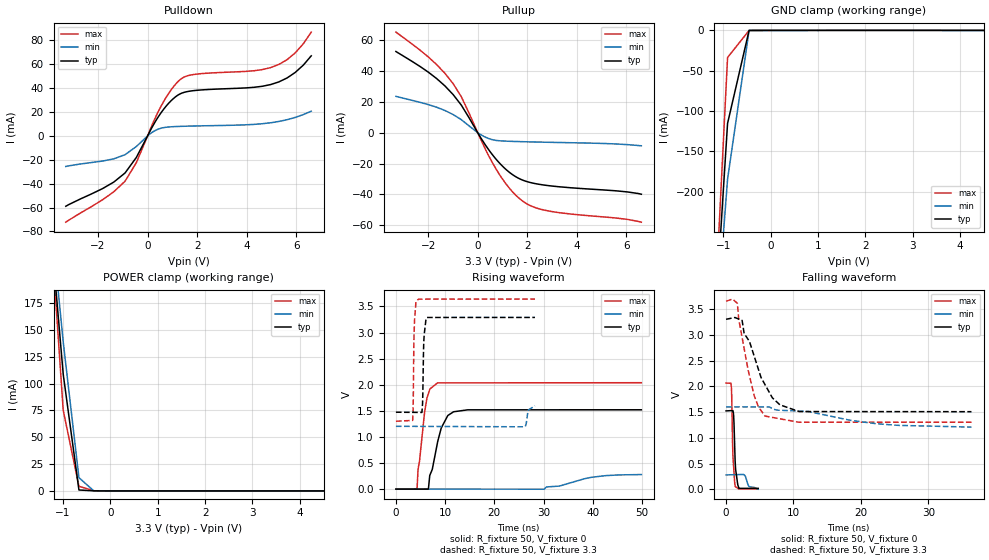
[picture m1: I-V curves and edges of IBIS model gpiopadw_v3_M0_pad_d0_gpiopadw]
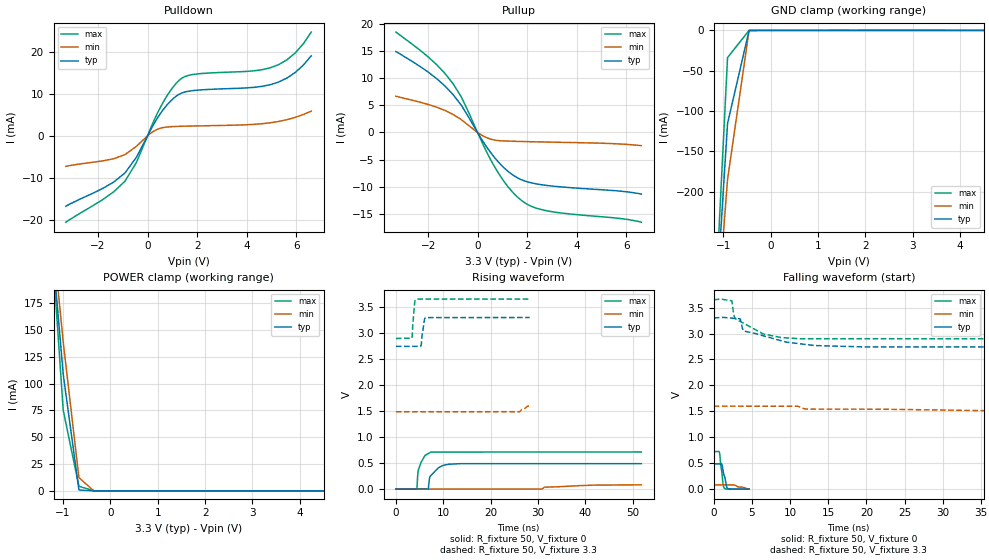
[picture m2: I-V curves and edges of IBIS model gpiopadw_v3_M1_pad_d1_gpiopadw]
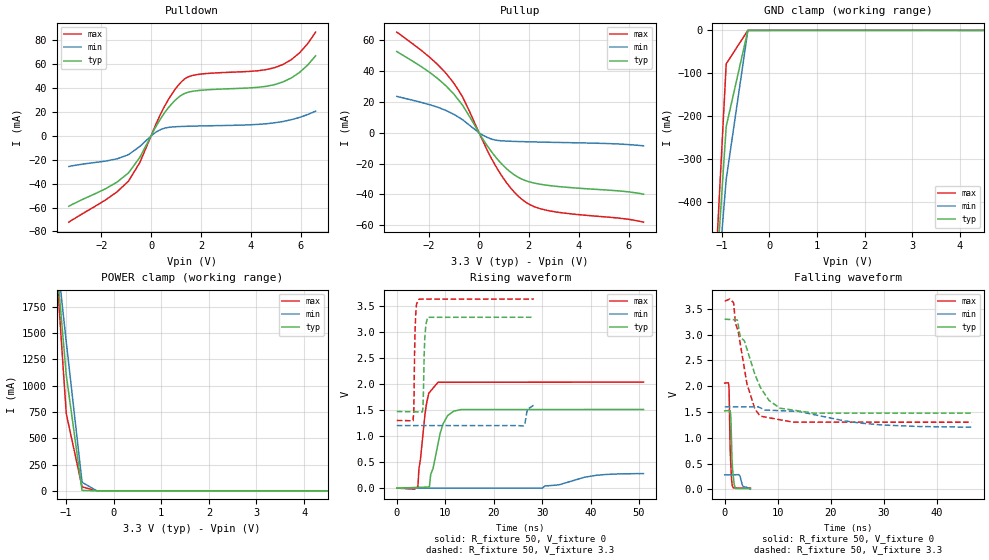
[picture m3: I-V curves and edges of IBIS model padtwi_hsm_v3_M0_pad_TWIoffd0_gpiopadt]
|   - ATMEL Microcontrollers -
|   IBIS model for SAMD21_TQFP64
[IBIS Ver]   4.2
[Comment char]  |_char
[File Name]   samd21b_3t64.ibs
[File Rev]   1.0
[Date]   9-SEP-2015 10:12:32
[Source]   By GENIBIS V3.5 - GENerate chip IBIS model - 07-SEP-2015
[Notes]   Property of ATMEL Corporation
[Disclaimer]
                  (C) Copyright ATMEL Nantes 2002-2015
Atmel Nantes makes no warranty for the use of its products, other than
those expressly contained in the Company's standard warranty which is detailed
in Atmel's Terms and Conditions located on the Company's web site. The Company
assumes no responsability for any errors which may appear in this document.
The user is granted this license only to use the IBIS model and is not granted
rights to sell, load, rent, lease or license the IBIS model in whole or in part,
or in modified form to anyone other than user. User may modify the IBIS model
to suit its specific applications but rights to derivative works and such
modifications shall belong to Atmel Nantes.
This IBIS model is provided on an \"AS IS\" basis and Atmel Nantes makes
absolutely no warranty with respect to the information contained herein.
[Copyright]   Copyright (c) 2002-2015 by ATMEL Nantes SA
|   COMPONENT : SAMD21_TQFP64
[Component]   SAMD21_TQFP64
[Manufacturer]  ATMEL Nantes SAS
[Package]
| Package family : TQFP_L
| RLC file   : V1.0
| RLCEDIT tool   : V1.3-2009/04/07
| variable   typ   min   max
R_pkg   250.18m   122.57m   300.80m
L_pkg   8.62n   4.19n   10.38n
C_pkg   373.74f   366.79f   384.07f
[Pin]   signal_name   model_name   R_pin   L_pin   C_pin
|   Real model names   <--->   IBIS model names
|   gpiopadw100m33v3p66k25   gpiopadw_v3
|   gpiopadw100m33v3p66k25   gpiopadw_v3
|  gpiopadtwihsmw100m33v3p66k25   gpiopadtwi_hsm_v3
|  gpiopadtwihsmw100m33v3p66k25   gpiopadtwi_hsm_v3
|  gpiopadtwihsmw100m33v3p66k25   gpiopadtwi_hsm_v3
|  gpiopadtwihsmw100m33v3p66k25   gpiopadtwi_hsm_v3
|  gpiopadtwihsmw100m33v3p66k25   gpiopadtwi_hsm_v3
   1   PA00   gpiopadw_v3  283.35m   9.63n  373.72f
   2   PA01   gpiopadw_v3  263.35m   9.25n  373.60f
   3   PA02   gpiopadw_v3  273.35m   9.29n  373.61f
   4   PA03   gpiopadw_v3  263.35m   9.03n  373.53f
   5   PB04   gpiopadw_v3  253.35m   8.74n  373.44f
   6   PB05   gpiopadw_v3  243.35m   8.53n  373.37f
   7   GNDANA   GND  130.02m   4.56n  377.04f
   8   VDDANA   POWER  158.35m   5.53n  375.20f
   9   PB06   gpiopadw_v3  243.35m   8.39n  373.33f
   10   PB07   gpiopadw_v3  243.35m   8.32n  373.31f
   11   PB08   gpiopadw_v3  243.35m   8.27n  373.29f
   12   PB09   gpiopadw_v3  243.35m   8.33n  373.31f
   13   PA04   gpiopadw_v3  243.35m   8.48n  373.36f
   14   PA05   gpiopadw_v3  253.35m   8.67n  373.42f
   15   PA06   gpiopadw_v3  263.35m   8.98n  373.52f
   16   PA07   gpiopadw_v3  273.35m   9.35n  373.63f
   17   PA08   gpiopadtwi_hsm_v3  293.35m   10.02n  373.84f
   18   PA09   gpiopadtwi_hsm_v3  283.35m   9.69n  373.74f
   19   PA10   gpiopadw_v3  273.35m   9.34n  373.63f
   20   PA11   gpiopadw_v3  263.35m   9.04n  373.54f
   21   VDDIO   POWER  253.35m   8.83n  373.47f
   22   GND   GND  253.35m   8.71n  373.43f
   23   PB10   gpiopadw_v3  253.35m   8.68n  373.42f
   24   PB11   gpiopadw_v3  253.35m   8.74n  373.44f
   25   PB12   gpiopadtwi_hsm_v3  253.35m   8.75n  373.44f
   26   PB13   gpiopadtwi_hsm_v3  253.35m   8.77n  373.45f
   27   PB14   gpiopadw_v3  253.35m   8.73n  373.44f
   28   PB15   gpiopadw_v3  253.35m   8.87n  373.48f
   29   PA12   gpiopadtwi_hsm_v3  263.35m   9.03n  373.53f
   30   PA13   gpiopadtwi_hsm_v3  263.35m   9.24n  373.60f
   31   PA14   gpiopadw_v3  273.35m   9.48n  373.67f
   32   PA15   gpiopadw_v3  273.35m   9.42n  373.66f
   33   GND   GND  273.35m   9.35n  373.63f
   34   VDDIO   POWER  263.35m   8.98n  373.52f
   35   PA16   gpiopadtwi_hsm_v3  253.35m   8.82n  373.47f
   36   PA17   gpiopadtwi_hsm_v3  253.35m   8.62n  373.40f
   37   PA18   gpiopadw_v3  243.35m   8.42n  373.34f
   38   PA19   gpiopadw_v3  243.35m   8.32n  373.31f
   39   PB16   gpiopadtwi_hsm_v3  243.35m   8.32n  373.31f
   40   PB17   gpiopadtwi_hsm_v3  243.35m   8.39n  373.33f
   41   PA20   gpiopadw_v3  243.35m   8.45n  373.35f
   42   PA21   gpiopadw_v3  243.35m   8.54n  373.38f
   43   PA22   gpiopadtwi_hsm_v3  243.35m   8.51n  373.37f
   44   PA23   gpiopadtwi_hsm_v3  253.35m   8.65n  373.41f
   45   PA24   NC  253.35m   8.90n  373.49f
   46   PA25   NC  253.35m   8.81n  373.46f
   47   GND   GND  263.35m   9.12n  373.56f
   48   VDDIO   POWER  273.35m   9.51n  373.69f
   49   PB22   gpiopadw_v3  283.35m   9.77n  373.77f
   50   PB23   gpiopadw_v3  273.35m   9.42n  373.66f
   51   PA27   gpiopadw_v3  283.35m   9.62n  373.72f
   52   RESET_N   gpiopadw_v3  273.35m   9.37n  373.64f
   53   PA28   gpiopadw_v3  263.35m   9.09n  373.55f
   54   GND   GND  136.68m   4.74n  377.57f
   55   VDDCORE   POWER  135.53m   4.72n  377.50f
   56   VDDIN   POWER  163.35m   5.74n  375.46f
   57   PA30   gpiopadw_v3  253.35m   8.77n  373.45f
   58   PA31   gpiopadw_v3  253.35m   8.66n  373.41f
   59   PB30   gpiopadtwi_hsm_v3  253.35m   8.61n  373.40f
   60   PB31   gpiopadtwi_hsm_v3  253.35m   8.63n  373.40f
   61   PB00   gpiopadw_v3  253.35m   8.66n  373.41f
   62   PB01   gpiopadw_v3  253.35m   8.77n  373.45f
   63   PB02   gpiopadw_v3  263.35m   9.02n  373.53f
   64   PB03   gpiopadw_v3  283.35m   9.70n  373.75f
|   MODEL SELECTOR : gpiopadtwi_hsm_v3
[Model Selector]   gpiopadtwi_hsm_v3
piopadtwi_hsm_v3_M4_pad_TWIHS_gpiopadt   TWI on HS mode
padtwi_hsm_v3_M3_pad_TWIfastp_gpiopadt   TWI on fastp mode
opadtwi_hsm_v3_M2_pad_TWIfast_gpiopadt   TWI on fast mode
padtwi_hsm_v3_M1_pad_TWIoffd1_gpiopadt   TWI off Drive 1
padtwi_hsm_v3_M0_pad_TWIoffd0_gpiopadt   TWI off Drive 0
|   MODEL SELECTOR : gpiopadw_v3
[Model Selector]   gpiopadw_v3
gpiopadw_v3_M1_pad_d1_gpiopadw   Drive 1
gpiopadw_v3_M0_pad_d0_gpiopadw   Drive 0
| Models and submodels in the file (7): gpiopadw_v3_M0_pad_d0_gpiopadw (I/O), gpiopadw_v3_M1_pad_d1_gpiopadw (I/O), padtwi_hsm_v3_M0_pad_TWIoffd0_gpiopadt (I/O), padtwi_hsm_v3_M1_pad_TWIoffd1_gpiopadt (I/O), opadtwi_hsm_v3_M2_pad_TWIfast_gpiopadt (I/O_open_sink), padtwi_hsm_v3_M3_pad_TWIfastp_gpiopadt (I/O_open_sink), piopadtwi_hsm_v3_M4_pad_TWIHS_gpiopadt (I/O_open_sink)
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|   MODEL : gpiopadw_v3_M0_pad_d0_gpiopadw
[Model] gpiopadw_v3_M0_pad_d0_gpiopadw
Model_type I/O
Vinl  =  0.99
Vinh  =  2.31
Vmeas =  1.650
| Capacitance   typ   min   max
C_comp   1.66304312273e-12   1.63252795871e-12   1.74894867771e-12
| Variables   typ   min   max
[GND Clamp Reference]   0   0   0
[POWER Clamp Reference]   3.3   1.6   3.65
[Pulldown Reference]   0   0   0
[Pullup Reference]   3.3   1.6   3.65
[Temperature Range]   25   105   -40
[Voltage Range]   3.3   1.6   3.65
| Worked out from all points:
|   slope of the pulldown table from 0 to 0.495 V, typ, clamps not added: 27.5 ohm
|   slope of the pullup table from 0 to 0.495 V, typ, clamps not added: 40.8 ohm
|   falling waveform, R_fixture 50, V_fixture 0: 20-80 % time 298ps typ, 453ps min, 272ps max; typ from 1.52 V to 0.019 V
|   falling waveform, R_fixture 50, V_fixture 3.3: 20-80 % time 3.38ns typ, 11.2ns min, 2.25ns max; typ from 3.3 V to 1.51 V
|   rising waveform, R_fixture 50, V_fixture 0: 20-80 % time 2.4ns typ, 6.71ns min, 1.55ns max; typ from 0 V to 1.52 V
|   rising waveform, R_fixture 50, V_fixture 3.3: 20-80 % time 259ps typ, 388ps min, 230ps max; typ from 1.47 V to 3.29 V
[GND Clamp]
| Voltage   I(typ)   I(min)   I(max)
-3.3V     -2.362A    -2.058A    -2.873A
-1.364V   -539mA     -533.7mA   -569.4mA
-909.1mV  -115.3mA   -184.6mA   -33.61mA
-454.5mV  -28.2uA    -65.8uA    -22.61uA
6.6V      0A         0A         0A
[POWER Clamp]
| Voltage   I(typ)   I(min)   I(max)
-3.3V     1.517A     1.363A     1.827A
-1.327V   278.9mA    288.1mA    290.1mA
-995.5mV  108.7mA    138.8mA    75.16mA
-663.6mV  871.4uA    12.35mA    4.301mA
-350mV    92.45uA    50.02uA    195.9uA
6.6V      0A         0A         0A
[Pulldown]
| Voltage   I(typ)   I(min)   I(max)
-3.3V     -58.91mA   -25.61mA   -72.26mA
-1.818V   -44.13mA   -21.04mA   -53.49mA
-909.1mV  -31.02mA   -15.7mA    -37.92mA
-454.5mV  -18.03mA   -8.879mA   -22.39mA
154.7mV   6.267mA    2.585mA    7.899mA
567.2mV   20.11mA    6.611mA    25.82mA
979.7mV   30.11mA    7.68mA     39.45mA
1.341V    35.5mA     8.009mA    47.61mA
1.959V    38.15mA    8.339mA    51.71mA
4.959V    43mA       11mA       57.2mA
5.955V    53.16mA    15.49mA    69.54mA
6.6V      67.08mA    20.73mA    86.97mA
[Pullup]
| Voltage   I(typ)   I(min)   I(max)
-3.3V     52.49mA    23.48mA    65.06mA
-1.991V   39.1mA     18.14mA    48.92mA
-1.327V   30.29mA    14.36mA    38.45mA
-995.5mV  24.69mA    11.73mA    31.75mA
-663.6mV  17.83mA    8.418mA    23.26mA
103.1mV   -2.836mA   -1.128mA   -3.662mA
670.3mV   -15.85mA   -4.83mA    -21.64mA
1.238V    -25.15mA   -5.561mA   -35.16mA
1.753V    -30.32mA   -5.826mA   -43.55mA
2.217V    -32.63mA   -6.014mA   -47.88mA
2.888V    -34.35mA   -6.25mA    -50.77mA
6.6V      -39.84mA   -8.516mA   -57.94mA
[Ramp]
dV/dt_r   0.913465/2.40986n  0.168178/6.72301n  1.23694/1.57578n
dV/dt_f   1.09591/3.45864n  0.237975/11.2031n  1.40951/2.25851n
R_load = 50
[Falling Waveform]
R_fixture = 50
V_fixture = 0
V_fixture_min = 0
V_fixture_max = 0
| Time   V(typ)   V(min)   V(max)
0s        1.522V     280.3mV    2.062V
728.3ps   1.528V     282.8mV    2.059V
803.6ps   1.528V     283mV      1.953V
841.3ps   1.528V     283.2mV    1.803V
964.1ps   1.529V     283.6mV    907.5mV
1.024ns   1.525V     283.8mV    637.7mV
1.181ns   1.28V      284.3mV    328.5mV
1.371ns   495.4mV    285mV      53.35mV
1.916ns   18.9mV     286.8mV    8.835mV
4.768ns   18.75mV    3.86mV     8.764mV
[Falling Waveform]
R_fixture = 50
V_fixture = 3.3
V_fixture_min = 1.6
V_fixture_max = 3.65
| Time   V(typ)   V(min)   V(max)
0s        3.3V       1.6V       3.65V
1.679ns   3.315V     1.6V       3.61V
1.877ns   3.305V     1.6V       3.306V
2.383ns   3.278V     1.599V     2.947V
2.681ns   3.026V     1.599V     2.734V
4.176ns   2.583V     1.599V     1.817V
5.785ns   2.03V      1.599V     1.422V
7.983ns   1.64V      1.535V     1.369V
10.84ns   1.51V      1.519V     1.303V
36.4ns    1.507V     1.208V     1.303V
[Rising Waveform]
R_fixture = 50
V_fixture = 0
V_fixture_min = 0
V_fixture_max = 0
| Time   V(typ)   V(min)   V(max)
0s        2.582nV    17.1nV     2.171nV
4.261ns   773.7uV    -121.1uV   -773.6uV
4.491ns   815.5uV    -127.6uV   376.6mV
6.311ns   1.146mV    -179.3uV   1.747V
6.601ns   1.199mV    -187.5uV   1.831V
8.459ns   897.8mV    -240.3uV   2.035V
9.202ns   1.17V      -261.4uV   2.035V
11.72ns   1.482V     -332.8uV   2.036V
30.11ns   1.519V     -855.4uV   2.037V
49.87ns   1.52V      279mV      2.038V
[Rising Waveform]
R_fixture = 50
V_fixture = 3.3
V_fixture_min = 1.6
V_fixture_max = 3.65
| Time   V(typ)   V(min)   V(max)
0s        1.473V     1.203V     1.301V
3.407ns   1.471V     1.202V     1.316V
3.783ns   1.47V      1.202V     3.231V
4.6ns     1.47V      1.202V     3.64V
5.284ns   1.469V     1.201V     3.64V
5.412ns   1.641V     1.201V     3.64V
5.67ns    2.843V     1.201V     3.64V
6.294ns   3.289V     1.201V     3.641V
26.22ns   3.289V     1.194V     3.641V
28.25ns   3.289V     1.596V     3.641V
|   MODEL : gpiopadw_v3_M1_pad_d1_gpiopadw
[Model] gpiopadw_v3_M1_pad_d1_gpiopadw
Model_type I/O
Vinl  =  0.99
Vinh  =  2.31
Vmeas =  1.650
| Capacitance   typ   min   max
C_comp   1.66304312273e-12   1.63252795871e-12   1.74894867771e-12
| Variables   typ   min   max
[GND Clamp Reference]   0   0   0
[POWER Clamp Reference]   3.3   1.6   3.65
[Pulldown Reference]   0   0   0
[Pullup Reference]   3.3   1.6   3.65
[Temperature Range]   25   105   -40
[Voltage Range]   3.3   1.6   3.65
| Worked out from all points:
|   slope of the pulldown table from 0 to 0.495 V, typ, clamps not added: 96.6 ohm
|   slope of the pullup table from 0 to 0.495 V, typ, clamps not added: 143 ohm
|   falling waveform, R_fixture 50, V_fixture 0: 20-80 % time 434ps typ, 1.28ns min, 335ps max; typ from 0.488 V to 0.002 V
|   falling waveform, R_fixture 50, V_fixture 3.3: 20-80 % time 5.41ns typ, 26.9ns min, 3.28ns max; typ from 3.3 V to 2.74 V
|   rising waveform, R_fixture 50, V_fixture 0: 20-80 % time 1.81ns typ, 7.65ns min, 1.15ns max; typ from 0 V to 0.488 V
|   rising waveform, R_fixture 50, V_fixture 3.3: 20-80 % time 470ps typ, 1.25ns min, 391ps max; typ from 2.74 V to 3.29 V
[GND Clamp]
| Voltage   I(typ)   I(min)   I(max)
-3.3V     -2.362A    -2.058A    -2.873A
-1.364V   -539mA     -533.7mA   -569.4mA
-909.1mV  -115.3mA   -184.6mA   -33.61mA
-454.5mV  -28.2uA    -65.8uA    -22.61uA
6.6V      0A         0A         0A
[POWER Clamp]
| Voltage   I(typ)   I(min)   I(max)
-3.3V     1.517A     1.363A     1.827A
-1.327V   278.9mA    288.1mA    290.1mA
-995.5mV  108.7mA    138.8mA    75.16mA
-663.6mV  871.4uA    12.35mA    4.301mA
-350mV    92.45uA    50.02uA    195.9uA
6.6V      0A         0A         0A
[Pulldown]
| Voltage   I(typ)   I(min)   I(max)
-3.3V     -16.82mA   -7.308mA   -20.63mA
-1.818V   -12.6mA    -6.002mA   -15.27mA
-909.1mV  -8.851mA   -4.478mA   -10.82mA
-454.5mV  -5.143mA   -2.53mA    -6.388mA
154.7mV   1.788mA    736.3uA    2.254mA
567.2mV   5.737mA    1.88mA     7.367mA
979.7mV   8.585mA    2.179mA    11.25mA
1.341V    10.12mA    2.267mA    13.58mA
1.959V    10.87mA    2.352mA    14.73mA
4.959V    12.21mA    3.111mA    16.25mA
5.955V    15.12mA    4.394mA    19.78mA
6.6V      19.1mA     5.893mA    24.76mA
[Pullup]
| Voltage   I(typ)   I(min)   I(max)
-3.3V     14.93mA    6.677mA    18.5mA
-1.991V   11.1mA     5.149mA    13.89mA
-1.327V   8.583mA    4.07mA     10.9mA
-995.5mV  6.986mA    3.318mA    8.985mA
-663.6mV  5.027mA    2.373mA    6.562mA
103.1mV   -866.9uA   -345.6uA   -1.118mA
670.3mV   -4.574mA   -1.395mA   -6.242mA
1.238V    -7.224mA   -1.595mA   -10.1mA
1.753V    -8.69mA    -1.662mA   -12.48mA
2.217V    -9.342mA   -1.711mA   -13.71mA
2.888V    -9.821mA   -1.778mA   -14.52mA
6.6V      -11.37mA   -2.426mA   -16.54mA
[Ramp]
dV/dt_r   0.29303/1.81615n  49.0188m/7.68985n  0.435885/1.21605n
dV/dt_f   0.33636/5.46397n  69.7138m/27.7237n  0.455658/3.3629n
R_load = 50
[Falling Waveform]
R_fixture = 50
V_fixture = 0
V_fixture_min = 0
V_fixture_max = 0
| Time   V(typ)   V(min)   V(max)
0s        488.4mV    81.7mV     726.5mV
706ps     488.4mV    81.99mV    726.2mV
784.5ps   488.4mV    82.03mV    679.2mV
900.9ps   488.4mV    82.08mV    477.6mV
1.098ns   464mV      82.16mV    274.2mV
1.259ns   320.5mV    82.22mV    59.01mV
1.392ns   254.2mV    82.28mV    16.26mV
1.665ns   58.74mV    82.39mV    4.195mV
1.817ns   13.36mV    82.46mV    4.193mV
4.636ns   1.992mV    1.151mV    4.16mV
[Falling Waveform]
R_fixture = 50
V_fixture = 3.3
V_fixture_min = 1.6
V_fixture_max = 3.65
| Time   V(typ)   V(min)   V(max)
0s        3.3V       1.6V       3.65V
2.364ns   3.297V     1.6V       3.631V
2.6ns     3.294V     1.6V       3.38V
2.833ns   3.291V     1.6V       3.284V
3.467ns   3.283V     1.6V       3.234V
3.906ns   3.049V     1.6V       3.198V
6.461ns   2.958V     1.599V     2.994V
8.761ns   2.865V     1.599V     2.924V
19.82ns   2.742V     1.542V     2.9V
61.83ns   2.742V     1.486V     2.899V
[Rising Waveform]
R_fixture = 50
V_fixture = 0
V_fixture_min = 0
V_fixture_max = 0
| Time   V(typ)   V(min)   V(max)
0s        5.117nV    26.2nV     4.625nV
4.4ns     47.85uV    -428.7nV   -2.045mV
4.722ns   51.35uV    -462nV     361.3mV
5.3ns     57.64uV    -521.8nV   511.7mV
6.814ns   74.1uV     -678.3nV   680.4mV
7.073ns   199.9mV    -705.1nV   693.7mV
7.396ns   260mV      -738.5nV   710.2mV
8.942ns   406.7mV    -898.3nV   710.3mV
11.13ns   476.8mV    -1.125uV   710.4mV
51.83ns   487.7mV    81.47mV    712.2mV
[Rising Waveform]
R_fixture = 50
V_fixture = 3.3
V_fixture_min = 1.6
V_fixture_max = 3.65
| Time   V(typ)   V(min)   V(max)
0s        2.739V     1.484V     2.891V
3.37ns    2.74V      1.484V     2.897V
3.537ns   2.74V      1.484V     3.131V
3.967ns   2.74V      1.484V     3.585V
4.121ns   2.74V      1.484V     3.635V
5.241ns   2.74V      1.484V     3.647V
5.931ns   3.203V     1.484V     3.647V
6.221ns   3.292V     1.484V     3.647V
26.11ns   3.293V     1.485V     3.647V
28.25ns   3.293V     1.599V     3.647V
|   MODEL : padtwi_hsm_v3_M0_pad_TWIoffd0_gpiopadt
[Model] padtwi_hsm_v3_M0_pad_TWIoffd0_gpiopadt
Model_type I/O
Vinl  =  0.99
Vinh  =  2.31
Vmeas =  1.650
| Capacitance   typ   min   max
C_comp   2.36291568293e-12   2.32408753346e-12   2.52131883665e-12
| Variables   typ   min   max
[GND Clamp Reference]   0   0   0
[POWER Clamp Reference]   3.3   1.6   3.65
[Pulldown Reference]   0   0   0
[Pullup Reference]   3.3   1.6   3.65
[Temperature Range]   25   105   -40
[Voltage Range]   3.3   1.6   3.65
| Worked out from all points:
|   slope of the pulldown table from 0 to 0.495 V, typ, clamps not added: 27.5 ohm
|   slope of the pullup table from 0 to 0.495 V, typ, clamps not added: 40.8 ohm
|   falling waveform, R_fixture 50, V_fixture 0: 20-80 % time 343ps typ, 506ps min, 298ps max; typ from 1.52 V to 0.016 V
|   falling waveform, R_fixture 50, V_fixture 3.3: 20-80 % time 4.45ns typ, 14ns min, 2.88ns max; typ from 3.3 V to 1.48 V
|   rising waveform, R_fixture 50, V_fixture 0: 20-80 % time 2.31ns typ, 7.1ns min, 1.52ns max; typ from 0 V to 1.51 V
|   rising waveform, R_fixture 50, V_fixture 3.3: 20-80 % time 319ps typ, 510ps min, 277ps max; typ from 1.47 V to 3.29 V
[GND Clamp]
| Voltage   I(typ)   I(min)   I(max)
-3.3V     -4.288A    -3.659A    -5.225A
-1.364V   -989.3mA   -964.6mA   -1.051A
-909.1mV  -223.9mA   -346.9mA   -78.01mA
-454.5mV  -55.62uA   -152.9uA   -36.11uA
6.6V      0A         0A         0A
[POWER Clamp]
| Voltage   I(typ)   I(min)   I(max)
-3.3V     13.48A     11.29A     16.51A
-1.327V   2.843A     2.803A     2.962A
-995.5mV  1.1A       1.416A     734.4mA
-663.6mV  5.056mA    82.07mA    38.36mA
-350mV    102.6uA    84.7uA     658.2uA
6.6V      0A         0A         0A
[Pulldown]
| Voltage   I(typ)   I(min)   I(max)
-3.3V     -58.91mA   -25.61mA   -72.26mA
-1.818V   -44.13mA   -21.04mA   -53.49mA
-909.1mV  -31.02mA   -15.7mA    -37.92mA
-454.5mV  -18.03mA   -8.879mA   -22.39mA
154.7mV   6.267mA    2.585mA    7.899mA
567.2mV   20.11mA    6.611mA    25.82mA
979.7mV   30.11mA    7.68mA     39.45mA
1.341V    35.5mA     8.009mA    47.61mA
1.959V    38.15mA    8.339mA    51.71mA
4.959V    43mA       11mA       57.2mA
5.955V    53.16mA    15.49mA    69.54mA
6.6V      67.08mA    20.73mA    86.97mA
[Pullup]
| Voltage   I(typ)   I(min)   I(max)
-3.3V     52.49mA    23.48mA    65.06mA
-1.991V   39.1mA     18.14mA    48.92mA
-1.327V   30.29mA    14.36mA    38.45mA
-995.5mV  24.69mA    11.73mA    31.75mA
-663.6mV  17.83mA    8.418mA    23.26mA
103.1mV   -2.836mA   -1.128mA   -3.662mA
670.3mV   -15.85mA   -4.83mA    -21.64mA
1.238V    -25.15mA   -5.561mA   -35.16mA
1.753V    -30.32mA   -5.826mA   -43.55mA
2.217V    -32.63mA   -6.014mA   -47.88mA
2.888V    -34.35mA   -6.25mA    -50.77mA
6.6V      -39.84mA   -8.515mA   -57.94mA
[Ramp]
dV/dt_r   0.913465/2.32576n  0.168178/7.11959n  1.23694/1.55082n
dV/dt_f   1.09591/4.4668n  0.237974/14.0831n  1.40951/2.8833n
R_load = 50
[Falling Waveform]
R_fixture = 50
V_fixture = 0
V_fixture_min = 0
V_fixture_max = 0
| Time   V(typ)   V(min)   V(max)
0s        1.522V     280.3mV    2.062V
809.5ps   1.528V     281.8mV    1.972V
1.007ns   1.53V      282.2mV    873mV
1.083ns   1.477V     282.3mV    625.9mV
1.199ns   1.278V     282.6mV    381.5mV
1.348ns   672.5mV    282.8mV    140.6mV
1.427ns   484.6mV    283mV      70.99mV
1.782ns   93.51mV    283.7mV    26.25mV
2.072ns   15.81mV    284.2mV    26.23mV
4.837ns   15.69mV    3.899mV    26.03mV
[Falling Waveform]
R_fixture = 50
V_fixture = 3.3
V_fixture_min = 1.6
V_fixture_max = 3.65
| Time   V(typ)   V(min)   V(max)
0s        3.3V       1.6V       3.65V
1.682ns   3.291V     1.6V       3.621V
2.02ns    3.289V     1.6V       3.22V
2.523ns   3.199V     1.6V       3.076V
2.929ns   2.954V     1.6V       2.825V
4.189ns   2.722V     1.6V       2.046V
6.677ns   1.988V     1.583V     1.421V
10.4ns    1.574V     1.527V     1.35V
16.84ns   1.479V     1.449V     1.303V
46.46ns   1.478V     1.206V     1.303V
[Rising Waveform]
R_fixture = 50
V_fixture = 0
V_fixture_min = 0
V_fixture_max = 0
| Time   V(typ)   V(min)   V(max)
0s        14.43nV    96.59nV    12.15nV
4.354ns   12.94mV    -90.56uV   24.66mV
4.57ns    13.58mV    -95.06uV   365.8mV
6.093ns   18.11mV    -126.8uV   1.601V
6.727ns   19.99mV    -140uV     1.839V
8.512ns   852mV      -177.1uV   2.035V
10.52ns   1.396V     -218.9uV   2.035V
13.28ns   1.511V     -276.5uV   2.035V
30.07ns   1.511V     -626uV     2.037V
50.93ns   1.512V     279.6mV    2.038V
[Rising Waveform]
R_fixture = 50
V_fixture = 3.3
V_fixture_min = 1.6
V_fixture_max = 3.65
| Time   V(typ)   V(min)   V(max)
0s        1.473V     1.203V     1.301V
3.352ns   1.468V     1.203V     1.296V
3.499ns   1.468V     1.203V     1.457V
3.907ns   1.467V     1.203V     3.335V
4.59ns    1.466V     1.203V     3.635V
5.357ns   1.504V     1.203V     3.635V
5.77ns    2.865V     1.203V     3.635V
6.392ns   3.285V     1.203V     3.635V
26.16ns   3.286V     1.193V     3.636V
28.31ns   3.286V     1.597V     3.636V
